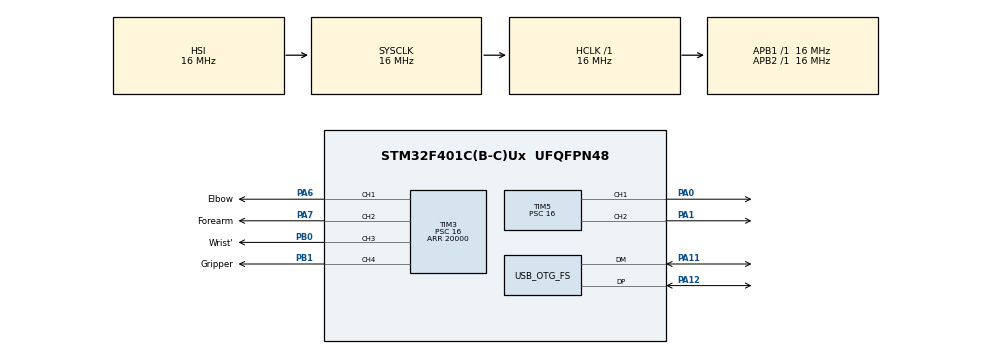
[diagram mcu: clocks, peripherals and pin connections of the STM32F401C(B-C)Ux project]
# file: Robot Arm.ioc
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Mcu.Family=STM32F4
Mcu.Name=STM32F401C(B-C)Ux
Mcu.Package=UFQFPN48
NVIC.OTG_FS_IRQn=true\:0\:0\:false\:false\:true\:false\:true\:true
NVIC.PriorityGroup=NVIC_PRIORITYGROUP_4
PA0-WKUP.Signal=S_TIM5_CH1
PA1.Signal=S_TIM5_CH2
PA11.Mode=Device_Only
PA11.Signal=USB_OTG_FS_DM
PA12.Mode=Device_Only
PA12.Signal=USB_OTG_FS_DP
PA13.Mode=Serial_Wire
PA13.Signal=SYS_JTMS-SWDIO
PA14.Mode=Serial_Wire
PA14.Signal=SYS_JTCK-SWCLK
PA6.GPIO_Label=Elbow
PA6.Signal=S_TIM3_CH1
PA7.GPIO_Label=Forearm
PA7.Signal=S_TIM3_CH2
PB0.GPIO_Label=Wrist'
PB0.Signal=S_TIM3_CH3
PB1.GPIO_Label=Gripper
PB1.Signal=S_TIM3_CH4
PH0\ -\ OSC_IN.Mode=HSE-External-Oscillator
PH0\ -\ OSC_IN.Signal=RCC_OSC_IN
PH1\ -\ OSC_OUT.Mode=HSE-External-Oscillator
PH1\ -\ OSC_OUT.Signal=RCC_OSC_OUT
ProjectManager.HeapSize=0x200
ProjectManager.StackSize=0x400
ProjectManager.TargetToolchain=Makefile
RCC.48MHZClocksFreq_Value=48000000
RCC.AHBFreq_Value=16000000
RCC.APB1Freq_Value=16000000
RCC.APB2Freq_Value=16000000
RCC.CortexFreq_Value=16000000
RCC.HSE_VALUE=25000000
RCC.HSI_VALUE=16000000
RCC.LSE_VALUE=32768
RCC.PLLM=15
RCC.PLLN=144
RCC.PLLQ=5
RCC.SYSCLKFreq_VALUE=16000000
RCC.VCOOutputFreq_Value=240000000
SH.S_TIM3_CH1.0=TIM3_CH1,PWM Generation1 CH1
SH.S_TIM3_CH2.0=TIM3_CH2,PWM Generation2 CH2
SH.S_TIM3_CH3.0=TIM3_CH3,PWM Generation3 CH3
SH.S_TIM3_CH4.0=TIM3_CH4,PWM Generation4 CH4
SH.S_TIM5_CH1.0=TIM5_CH1,PWM Generation1 CH1
SH.S_TIM5_CH2.0=TIM5_CH2,PWM Generation2 CH2
TIM3.Channel-PWM\ Generation1\ CH1=TIM_CHANNEL_1
TIM3.Channel-PWM\ Generation2\ CH2=TIM_CHANNEL_2
TIM3.Channel-PWM\ Generation3\ CH3=TIM_CHANNEL_3
TIM3.Channel-PWM\ Generation4\ CH4=TIM_CHANNEL_4
TIM3.ClockDivision=TIM_CLOCKDIVISION_DIV1
TIM3.Period=20000
TIM3.Prescaler=16
TIM5.Channel-PWM\ Generation1\ CH1=TIM_CHANNEL_1
TIM5.Channel-PWM\ Generation2\ CH2=TIM_CHANNEL_2
TIM5.Period=20000
TIM5.Prescaler=16
USB_DEVICE.CLASS_NAME_FS=CDC
USB_DEVICE.VirtualMode=Cdc
USB_DEVICE.VirtualModeFS=Cdc_FS
USB_OTG_FS.VirtualMode=Device_Only
VP_USB_DEVICE_VS_USB_DEVICE_CDC_FS.Mode=CDC_FS
board=custom

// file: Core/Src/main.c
/* USER CODE BEGIN Header */
/**
 ******************************************************************************
 * @file           : main.c
 * @brief          : Main program body
 ******************************************************************************
 * @attention
 *
 * Copyright (c) 2024 STMicroelectronics.
 * All rights reserved.
 *
 * This software is licensed under terms that can be found in the LICENSE file
 * in the root directory of this software component.
 * If no LICENSE file comes with this software, it is provided AS-IS.
 *
 ******************************************************************************
 */
/* USER CODE END Header */
#include "main.h"
#include "usb_device.h"

/* USER CODE BEGIN Includes */
#include "joint.h"
#include "arm.h"
#include <string.h>
#include "usbd_cdc_if.h"
#include <stdbool.h>

/* USER CODE END Includes */

TIM_HandleTypeDef htim3;
TIM_HandleTypeDef htim5;

/* USER CODE BEGIN PV */

float USB_RX_Buf[5] = {90, 90, 90, 90, 90};

/* USER CODE END PV */

void SystemClock_Config(void);
static void MX_GPIO_Init(void);
static void MX_TIM3_Init(void);
static void MX_TIM5_Init(void);
/* USER CODE BEGIN PFP */

float byteArrayToFloat(const uint8_t *byteArray)
{
  // Assuming the byteArray is in little-endian format
  uint32_t value;
  memcpy(&value, byteArray, sizeof(uint32_t));

  // Convert the raw integer value to float
  float result;
  memcpy(&result, &value, sizeof(float));

  return result;
}
void receiveAnglesUSB(uint8_t *buf)
{
  for (int i = 0; i < 5; i++)
  {
    USB_RX_Buf[i] = byteArrayToFloat(buf + sizeof(float) * i);
  }
}

/* USER CODE END PFP */

int main(void)
{

  /* MCU Configuration--------------------------------------------------------*/

  /* Reset of all peripherals, Initializes the Flash interface and the Systick. */
  HAL_Init();

  /* Configure the system clock */
  SystemClock_Config();

  /* Initialize all configured peripherals */
  MX_GPIO_Init();
  MX_TIM3_Init();
  MX_USB_DEVICE_Init();
  MX_TIM5_Init();
  /* USER CODE BEGIN 2 */
  joint_t wrist = {.htimer = &htim3, .CCRReg = &(TIM3->CCR2), .channel = TIM_CHANNEL_2, .min_angle = 60, .max_angle = 120};
  joint_t elbow = {.htimer = &htim5, .CCRReg = &(TIM5->CCR2), .channel = TIM_CHANNEL_2, .min_angle = 0, .max_angle = 80};
  joint_t base = {.htimer = &htim3, .CCRReg = &(TIM3->CCR4), .channel = TIM_CHANNEL_4, .min_angle = 20, .max_angle = 170};
  joint_t hand = {.htimer = &htim3, .CCRReg = &(TIM3->CCR3), .channel = TIM_CHANNEL_3, .min_angle = 0, .max_angle = 25};
  joint_t shoulder = {.htimer = &htim5, .CCRReg = &(TIM5->CCR1), .channel = TIM_CHANNEL_1, .min_angle = 40, .max_angle = 100};

  arm_t arm =
      {
          .base = &base,
          .shoulder = &shoulder,
          .elbow = &elbow,
          .wrist = &wrist,
          .hand = &hand,
      };
  arm_init(&arm);
  joint_set_angle(arm.base, 30);
  joint_set_angle(arm.shoulder, 50);
  joint_set_angle(arm.elbow, 0);
  joint_set_angle(arm.wrist, 30);
  joint_set_angle(arm.hand, 10);
  // USBD_CDC_init();

  /* USER CODE END 2 */

  /* Infinite loop */
  /* USER CODE BEGIN WHILE */
  bool up = true;
  int angle = 30;
  while (1)
  {
    // joint_set_angle(arm.elbow, 20);
    if(up){
      angle++;
      if(angle >= 180){
        up = false;
      }
    }
    else{
      angle--;
      if(angle <= 0){
        up = true;
      }
    }
    joint_set_angle(arm.base,angle);
    //arm_set_angles(&arm, USB_RX_Buf);
    // HAL_Delay(1000);
    // joint_set_angle(arm.elbow, 120);
    HAL_Delay(30);

    /* USER CODE END WHILE */

  }
}

void SystemClock_Config(void)
{
  RCC_OscInitTypeDef RCC_OscInitStruct = {0};
  RCC_ClkInitTypeDef RCC_ClkInitStruct = {0};

  /** Configure the main internal regulator output voltage
  */
  __HAL_RCC_PWR_CLK_ENABLE();
  __HAL_PWR_VOLTAGESCALING_CONFIG(PWR_REGULATOR_VOLTAGE_SCALE2);

  /** Initializes the RCC Oscillators according to the specified parameters
  * in the RCC_OscInitTypeDef structure.
  */
  RCC_OscInitStruct.OscillatorType = RCC_OSCILLATORTYPE_HSI|RCC_OSCILLATORTYPE_HSE;
  RCC_OscInitStruct.HSEState = RCC_HSE_ON;
  RCC_OscInitStruct.HSIState = RCC_HSI_ON;
  RCC_OscInitStruct.HSICalibrationValue = RCC_HSICALIBRATION_DEFAULT;
  RCC_OscInitStruct.PLL.PLLState = RCC_PLL_ON;
  RCC_OscInitStruct.PLL.PLLSource = RCC_PLLSOURCE_HSE;
  RCC_OscInitStruct.PLL.PLLM = 15;
  RCC_OscInitStruct.PLL.PLLN = 144;
  RCC_OscInitStruct.PLL.PLLP = RCC_PLLP_DIV2;
  RCC_OscInitStruct.PLL.PLLQ = 5;
  if (HAL_RCC_OscConfig(&RCC_OscInitStruct) != HAL_OK)
  {
    Error_Handler();
  }

  /** Initializes the CPU, AHB and APB buses clocks
  */
  RCC_ClkInitStruct.ClockType = RCC_CLOCKTYPE_HCLK|RCC_CLOCKTYPE_SYSCLK
                              |RCC_CLOCKTYPE_PCLK1|RCC_CLOCKTYPE_PCLK2;
  RCC_ClkInitStruct.SYSCLKSource = RCC_SYSCLKSOURCE_HSI;
  RCC_ClkInitStruct.AHBCLKDivider = RCC_SYSCLK_DIV1;
  RCC_ClkInitStruct.APB1CLKDivider = RCC_HCLK_DIV1;
  RCC_ClkInitStruct.APB2CLKDivider = RCC_HCLK_DIV1;

  if (HAL_RCC_ClockConfig(&RCC_ClkInitStruct, FLASH_LATENCY_0) != HAL_OK)
  {
    Error_Handler();
  }
}

static void MX_TIM3_Init(void)
{

  TIM_MasterConfigTypeDef sMasterConfig = {0};
  TIM_OC_InitTypeDef sConfigOC = {0};

  htim3.Instance = TIM3;
  htim3.Init.Prescaler = 16;
  htim3.Init.CounterMode = TIM_COUNTERMODE_UP;
  htim3.Init.Period = 20000;
  htim3.Init.ClockDivision = TIM_CLOCKDIVISION_DIV1;
  htim3.Init.AutoReloadPreload = TIM_AUTORELOAD_PRELOAD_DISABLE;
  if (HAL_TIM_PWM_Init(&htim3) != HAL_OK)
  {
    Error_Handler();
  }
  sMasterConfig.MasterOutputTrigger = TIM_TRGO_RESET;
  sMasterConfig.MasterSlaveMode = TIM_MASTERSLAVEMODE_DISABLE;
  if (HAL_TIMEx_MasterConfigSynchronization(&htim3, &sMasterConfig) != HAL_OK)
  {
    Error_Handler();
  }
  sConfigOC.OCMode = TIM_OCMODE_PWM1;
  sConfigOC.Pulse = 0;
  sConfigOC.OCPolarity = TIM_OCPOLARITY_HIGH;
  sConfigOC.OCFastMode = TIM_OCFAST_DISABLE;
  if (HAL_TIM_PWM_ConfigChannel(&htim3, &sConfigOC, TIM_CHANNEL_2) != HAL_OK)
  {
    Error_Handler();
  }
  if (HAL_TIM_PWM_ConfigChannel(&htim3, &sConfigOC, TIM_CHANNEL_3) != HAL_OK)
  {
    Error_Handler();
  }
  if (HAL_TIM_PWM_ConfigChannel(&htim3, &sConfigOC, TIM_CHANNEL_4) != HAL_OK)
  {
    Error_Handler();
  }
  HAL_TIM_MspPostInit(&htim3);

}

static void MX_TIM5_Init(void)
{

  TIM_MasterConfigTypeDef sMasterConfig = {0};
  TIM_OC_InitTypeDef sConfigOC = {0};

  htim5.Instance = TIM5;
  htim5.Init.Prescaler = 16;
  htim5.Init.CounterMode = TIM_COUNTERMODE_UP;
  htim5.Init.Period = 20000;
  htim5.Init.ClockDivision = TIM_CLOCKDIVISION_DIV1;
  htim5.Init.AutoReloadPreload = TIM_AUTORELOAD_PRELOAD_DISABLE;
  if (HAL_TIM_PWM_Init(&htim5) != HAL_OK)
  {
    Error_Handler();
  }
  sMasterConfig.MasterOutputTrigger = TIM_TRGO_RESET;
  sMasterConfig.MasterSlaveMode = TIM_MASTERSLAVEMODE_DISABLE;
  if (HAL_TIMEx_MasterConfigSynchronization(&htim5, &sMasterConfig) != HAL_OK)
  {
    Error_Handler();
  }
  sConfigOC.OCMode = TIM_OCMODE_PWM1;
  sConfigOC.Pulse = 0;
  sConfigOC.OCPolarity = TIM_OCPOLARITY_HIGH;
  sConfigOC.OCFastMode = TIM_OCFAST_DISABLE;
  if (HAL_TIM_PWM_ConfigChannel(&htim5, &sConfigOC, TIM_CHANNEL_1) != HAL_OK)
  {
    Error_Handler();
  }
  if (HAL_TIM_PWM_ConfigChannel(&htim5, &sConfigOC, TIM_CHANNEL_2) != HAL_OK)
  {
    Error_Handler();
  }
  HAL_TIM_MspPostInit(&htim5);

}

static void MX_GPIO_Init(void)
{

  /* GPIO Ports Clock Enable */
  __HAL_RCC_GPIOH_CLK_ENABLE();
  __HAL_RCC_GPIOA_CLK_ENABLE();
  __HAL_RCC_GPIOB_CLK_ENABLE();

}

void Error_Handler(void)
{
  __disable_irq();
  while (1)
  {
  }
}
